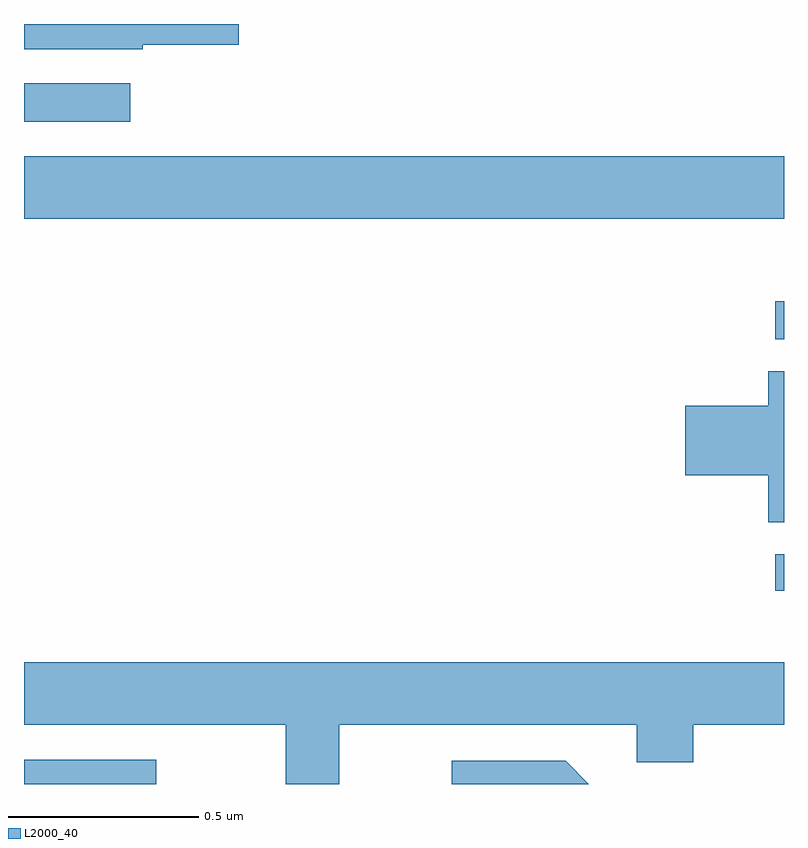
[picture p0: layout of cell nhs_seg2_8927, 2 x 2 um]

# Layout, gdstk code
import gdstk
lib = gdstk.Library(unit=1e-6, precision=1e-09)
def R(c, l, rs):  # rectangles x0, y0, x1, y1
    for r in rs: c.add(gdstk.rectangle(r[:2], r[2:], *l))
def P(c, l, *ps):  # polygons
    for p in ps: c.add(gdstk.Polygon(p, *l))
L2000_40 = (2000, 40)

nhs_seg2_8927 = lib.new_cell('nhs_seg2_8927')
R(nhs_seg2_8927, L2000_40, [(222,660.8,222.348,660.864), (223.977,661.308,224,661.404), (223.977,661.971,224,662.07), (222,662.288,224,662.452), (222,662.543,222.28,662.644)])
P(nhs_seg2_8927, L2000_40, [(222.312,662.746),(222.565,662.746),(222.565,662.8),(222,662.8),(222,662.733),(222.312,662.733)],
  [(224,661.886),(223.958,661.886),(223.958,661.796),(223.74,661.796),(223.74,661.613),(223.958,661.613),(223.958,661.489),(224,661.489)],
  [(222.829,660.956),(223.613,660.956),(223.613,660.857),(223.761,660.857),(223.761,660.956),(224,660.956),(224,661.12),(222,661.12),(222,660.956),(222.689,660.956),(222.689,660.8),(222.829,660.8)],
  [(223.425,660.861),(223.125,660.861),(223.125,660.8),(223.486,660.8)])

lib.write_gds('nhs_seg2_8927.gds')
